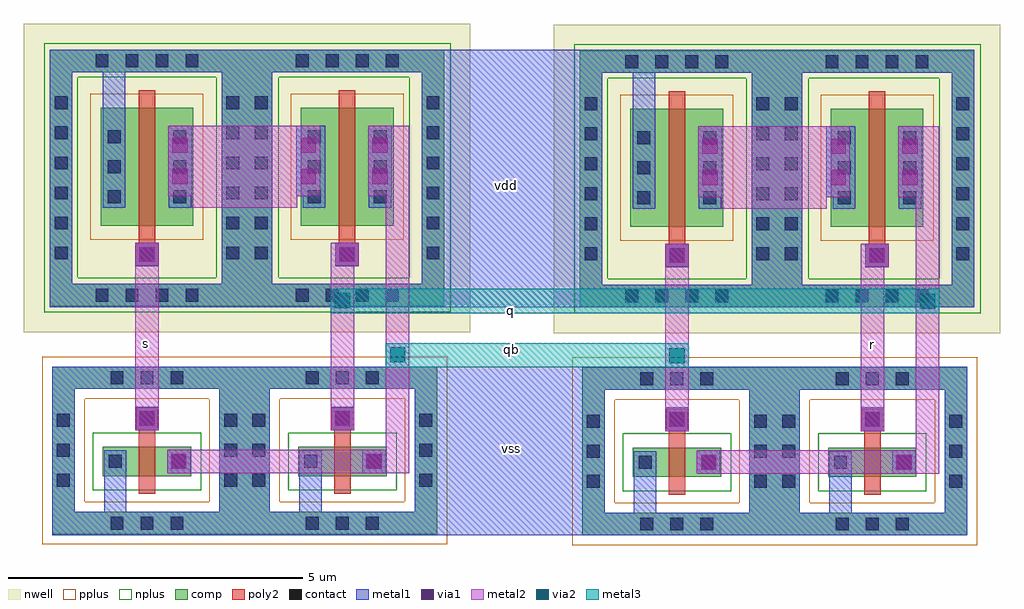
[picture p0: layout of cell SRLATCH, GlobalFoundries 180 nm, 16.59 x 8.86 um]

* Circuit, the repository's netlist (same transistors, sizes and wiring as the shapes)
** sch_path: /foss/designs/SRlatch.sch
.subckt SRlatch vdd s q qb r vss
*.PININFO s:B r:B q:B qb:B vdd:B vss:B
x1 vdd s qb q vss NOR
x2 vdd q r qb vss NOR
.ends

* expanding   symbol:  NOR.sym # of pins=5
** sym_path: /foss/designs/NOR.sym
** sch_path: /foss/designs/NOR.sch
.subckt NOR vdd a b out vss
*.PININFO vdd:B vss:B a:B b:B out:B
M1 out a vss vss nfet_03v3 L=0.28u W=0.5u nf=1 m=1
M2 net1 a vdd vdd pfet_03v3 L=0.28u W=2u nf=1 m=1
M3 out b net1 vdd pfet_03v3 L=0.28u W=2u nf=1 m=1
M4 out b vss vss nfet_03v3 L=0.28u W=0.5u nf=1 m=1
.ends

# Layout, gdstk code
import gdstk
lib = gdstk.Library(unit=1e-6, precision=5e-09)
def R(c, l, rs):  # rectangles x0, y0, x1, y1
    for r in rs: c.add(gdstk.rectangle(r[:2], r[2:], *l))
def A(c, l, x, y, w, h, nx, ny, dx, dy):  # array of equal rectangles
    R(c, l, [(x+i*dx, y+j*dy, x+i*dx+w, y+j*dy+h) for i in range(nx) for j in range(ny)])
def P(c, l, *ps):  # polygons
    for p in ps: c.add(gdstk.Polygon(p, *l))
nwell = (21, 0)
comp = (22, 0)
poly2 = (30, 0)
pplus = (31, 0)
nplus = (32, 0)
contact = (33, 0)
metal1 = (34, 0)
via1 = (35, 0)
metal2 = (36, 0)
via2 = (38, 0)
metal3 = (42, 0)

via_dev = lib.new_cell('via_dev')
R(via_dev, metal1, [(0,0,0.4,0.4)])
R(via_dev, via1, [(0.07,0.07,0.33,0.33)])
R(via_dev, metal2, [(0,0,0.4,0.4)])

via_dev_1 = lib.new_cell('via_dev$1')
R(via_dev_1, metal1, [(0,0,0.4,1.2)])
R(via_dev_1, via1, [(0.07,0.205,0.33,0.465), (0.07,0.735,0.33,0.995)])
R(via_dev_1, metal2, [(0,0,0.4,1.2)])

nfet = lib.new_cell('nfet')
R(nfet, comp, [(-0.42,0,0,0.5), (0,0,0.66,0.5), (0.66,0,1.08,0.5)])
P(nfet, comp, [(-1.28,-0.99),(-1.28,1.48),(-0.9,1.48),(-0.9,-0.61),(1.56,-0.61),(1.56,1.48),(-1.28,1.48),(-1.28,1.86),(1.94,1.86),(1.94,-0.99)])
R(nfet, poly2, [(0.19,-0.3,0.47,0.8), (0.15,0.8,0.51,1.16)])
P(nfet, pplus, [(-1.45,-1.16),(-1.45,1.31),(-0.73,1.31),(-0.73,-0.44),(1.39,-0.44),(1.39,1.31),(-1.45,1.31),(-1.45,2.03),(2.11,2.03),(2.11,-1.16)])
R(nfet, nplus, [(-0.59,-0.24,1.25,0.74)])
A(nfet, contact, -0.29, -0.91, 0.22, 0.22, 3, 2, 0.51, 2.47)
A(nfet, contact, -1.2, -0.185, 0.22, 0.22, 1, 3, 0, 0.51)
A(nfet, contact, 1.64, -0.185, 0.22, 0.22, 1, 3, 0, 0.51)
R(nfet, contact, [(-0.32,0.14,-0.1,0.36), (0.76,0.14,0.98,0.36), (0.22,0.87,0.44,1.09)])
R(nfet, metal1, [(-0.4,0.06,-0.02,0.44), (0.68,0.06,1.06,0.44), (0.14,0.79,0.52,1.17)])

pfet = lib.new_cell('pfet')
R(pfet, nwell, [(-1.76,-1.81,2.42,3.43)])
R(pfet, comp, [(-0.46,0,0,2), (0,0,0.66,2), (0.66,0,1.12,2)])
P(pfet, comp, [(-1.32,-1.37),(-1.32,2.61),(-0.94,2.61),(-0.94,-0.99),(1.6,-0.99),(1.6,2.61),(-1.32,2.61),(-1.32,2.99),(1.98,2.99),(1.98,-1.37)])
R(pfet, poly2, [(0.14,-0.68,0.52,-0.3), (0.19,-0.3,0.47,2.3)])
R(pfet, pplus, [(-0.63,-0.24,1.29,2.24)])
A(pfet, contact, -0.545, -1.29, 0.22, 0.22, 4, 2, 0.51, 3.98)
A(pfet, contact, -1.24, -0.575, 0.22, 0.22, 1, 6, 0, 0.51)
A(pfet, contact, 1.68, -0.575, 0.22, 0.22, 1, 6, 0, 0.51)
A(pfet, contact, -0.34, 0.38, 0.22, 0.22, 1, 3, 0, 0.51)
A(pfet, contact, 0.78, 0.38, 0.22, 0.22, 1, 3, 0, 0.51)
R(pfet, contact, [(0.22,-0.6,0.44,-0.38)])
R(pfet, metal1, [(0.14,-0.68,0.52,-0.3), (-0.42,0.3,-0.04,1.7), (0.7,0.3,1.08,1.7)])

nor = lib.new_cell('NOR')
R(nor, comp, [(1.125,0.93,1.225,3.78), (1.165,4.805,1.265,9.165)])
R(nor, nplus, [(-2.23,4.705,-1.66,9.275), (-1.66,4.705,4.68,5.29), (0.695,5.29,1.755,8.695), (3.97,5.29,4.68,9.275), (-1.66,8.695,3.97,9.275)])
R(nor, metal1, [(-2.095,0.93,4.065,1.31), (-1.215,0.93,-0.835,1.98), (2.105,0.93,2.485,1.98), (4.065,0.93,4.445,3.4), (-2.095,1.31,-1.715,3.4), (0.745,1.31,1.605,3.4), (-2.095,3.4,4.445,3.78), (-2.135,4.805,4.565,5.185), (-2.135,5.185,-1.755,8.785), (0.785,5.185,1.645,8.785), (4.185,5.185,4.565,9.165), (-1.235,7.875,-0.855,9.165), (-2.135,8.785,4.185,9.165)])
R(nor, metal2, [(0.255,1.97,3.575,2.37), (3.575,1.97,3.975,7.875), (-0.685,3.09,-0.285,5.485), (2.635,3.1,3.035,5.885), (0.275,6.475,2.065,7.875)])
nor.add(gdstk.Reference(via_dev, (3.175,1.97)))
nor.add(gdstk.Reference(via_dev, (-0.145,1.97)))
nor.add(gdstk.Reference(via_dev_1, (3.275,6.675)))
nor.add(gdstk.Reference(via_dev_1, (2.055,6.675)))
nor.add(gdstk.Reference(via_dev_1, (-0.125,6.675)))
nor.add(gdstk.Reference(via_dev, (2.715,5.485)))
nor.add(gdstk.Reference(via_dev, (2.635,2.7)))
nor.add(gdstk.Reference(via_dev, (-0.685,2.7)))
nor.add(gdstk.Reference(via_dev, (-0.685,5.485)))
nor.add(gdstk.Reference(nfet, (-0.815,1.92)))
nor.add(gdstk.Reference(nfet, (2.505,1.92)))
nor.add(gdstk.Reference(pfet, (-0.815,6.175)))
nor.add(gdstk.Reference(pfet, (2.585,6.175)))
nor.add(gdstk.Label('vss', (-0.47,3.56), layer=34, texttype=10))
nor.add(gdstk.Label('vdd', (-0.505,4.99), layer=34, texttype=10))
nor.add(gdstk.Label('a', (0.93,4.18), layer=36, texttype=10))
nor.add(gdstk.Label('b', (4.275,4.16), layer=36, texttype=10))
nor.add(gdstk.Label('out', (5.215,4.21), layer=36, texttype=10))

via_dev_2 = lib.new_cell('via_dev$2')
R(via_dev_2, metal2, [(0,0,0.4,0.4)])
R(via_dev_2, via2, [(0.07,0.07,0.33,0.33)])
R(via_dev_2, metal3, [(0,0,0.4,0.4)])

srlatch = lib.new_cell('SRLATCH')
R(srlatch, metal1, [(-0.12,1.68,6.42,1.695), (6.42,1.68,8.885,4.545), (8.885,4.53,15.425,4.545), (-0.16,5.555,6.54,5.57), (6.54,5.555,8.845,9.93), (8.845,9.915,15.545,9.93)])
R(srlatch, metal3, [(5.55,4.53,5.95,4.545), (5.95,4.53,10.295,4.945), (10.295,4.93,10.695,4.945), (4.61,5.455,5.01,5.47), (5.01,5.455,14.555,5.87), (14.555,5.855,14.955,5.87)])
srlatch.add(gdstk.Reference(nor, (1.975,0.765)))
srlatch.add(gdstk.Reference(nor, (10.98,0.75)))
srlatch.add(gdstk.Reference(via_dev_2, (4.61,5.47)))
srlatch.add(gdstk.Reference(via_dev_2, (14.555,5.455)))
srlatch.add(gdstk.Reference(via_dev_2, (10.295,4.53)))
srlatch.add(gdstk.Reference(via_dev_2, (5.55,4.545)))
srlatch.add(gdstk.Label('vdd', (7.6,7.615), layer=34, texttype=10))
srlatch.add(gdstk.Label('vss', (7.69,3.145), layer=34, texttype=10))
srlatch.add(gdstk.Label('s', (1.46,4.93), layer=36, texttype=10))
srlatch.add(gdstk.Label('r', (13.815,4.915), layer=36, texttype=10))
srlatch.add(gdstk.Label('q', (7.66,5.505), layer=42, texttype=10))
srlatch.add(gdstk.Label('qb', (7.69,4.835), layer=42, texttype=10))

lib.write_gds('SRLATCH.gds')
